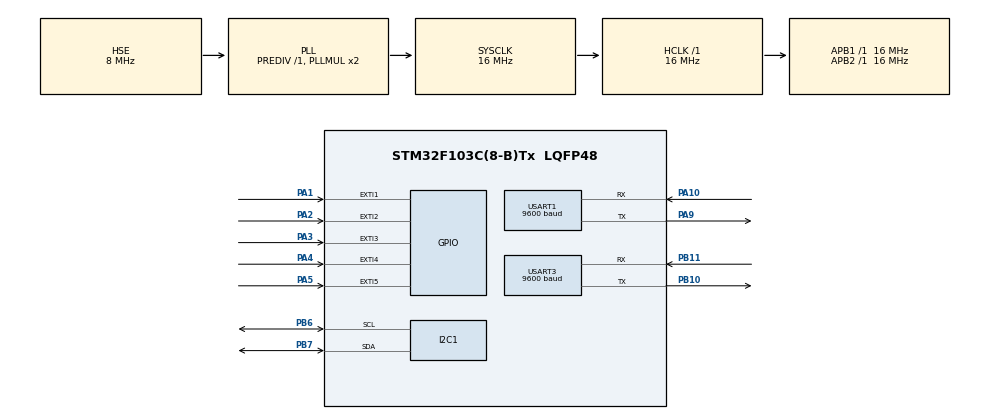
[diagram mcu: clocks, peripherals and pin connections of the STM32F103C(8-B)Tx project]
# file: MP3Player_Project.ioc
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FREERTOS.INCLUDE_eTaskGetState=1
FREERTOS.INCLUDE_xEventGroupSetBitFromISR=1
FREERTOS.INCLUDE_xTimerPendFunctionCall=1
FREERTOS.Tasks01=defaultTask,0,128,StartDefaultTask,Default,NULL,Dynamic,NULL,NULL
FREERTOS.configGENERATE_RUN_TIME_STATS=0
FREERTOS.configUSE_COUNTING_SEMAPHORES=1
FREERTOS.configUSE_NEWLIB_REENTRANT=1
FREERTOS.configUSE_STATS_FORMATTING_FUNCTIONS=0
FREERTOS.configUSE_TIMERS=1
FREERTOS.configUSE_TRACE_FACILITY=0
I2C1.I2C_Mode=I2C_Fast
Mcu.Family=STM32F1
Mcu.Name=STM32F103C(8-B)Tx
Mcu.Package=LQFP48
NVIC.EXTI1_IRQn=true\:5\:0\:false\:true\:true\:1\:true\:true\:true\:true
NVIC.EXTI2_IRQn=true\:5\:0\:false\:true\:true\:2\:true\:true\:true\:true
NVIC.EXTI3_IRQn=true\:5\:0\:false\:true\:true\:3\:true\:true\:true\:true
NVIC.EXTI4_IRQn=true\:5\:0\:false\:true\:true\:4\:true\:true\:true\:true
NVIC.EXTI9_5_IRQn=true\:5\:0\:false\:true\:true\:5\:true\:true\:true\:true
NVIC.PriorityGroup=NVIC_PRIORITYGROUP_4
NVIC.TIM4_IRQn=true\:15\:0\:false\:false\:true\:false\:false\:true\:true
NVIC.TimeBase=TIM4_IRQn
NVIC.TimeBaseIP=TIM4
PA1.Signal=GPXTI1
PA10.Mode=Asynchronous
PA10.Signal=USART1_RX
PA13.Mode=Serial_Wire
PA13.Signal=SYS_JTMS-SWDIO
PA14.Mode=Serial_Wire
PA14.Signal=SYS_JTCK-SWCLK
PA2.Signal=GPXTI2
PA3.Signal=GPXTI3
PA4.Signal=GPXTI4
PA5.Signal=GPXTI5
PA9.Mode=Asynchronous
PA9.Signal=USART1_TX
PB10.Mode=Asynchronous
PB10.Signal=USART3_TX
PB11.Mode=Asynchronous
PB11.Signal=USART3_RX
PB6.Mode=I2C
PB6.Signal=I2C1_SCL
PB7.Mode=I2C
PB7.Signal=I2C1_SDA
PD0-OSC_IN.Mode=HSE-External-Oscillator
PD0-OSC_IN.Signal=RCC_OSC_IN
PD1-OSC_OUT.Mode=HSE-External-Oscillator
PD1-OSC_OUT.Signal=RCC_OSC_OUT
ProjectManager.HeapSize=0x200
ProjectManager.StackSize=0x400
ProjectManager.TargetToolchain=STM32CubeIDE
RCC.AHBFreq_Value=16000000
RCC.APB1Freq_Value=16000000
RCC.APB1TimFreq_Value=16000000
RCC.APB2Freq_Value=16000000
RCC.APB2TimFreq_Value=16000000
RCC.HCLKFreq_Value=16000000
RCC.PLLSourceVirtual=RCC_PLLSOURCE_HSE
RCC.SYSCLKFreq_VALUE=16000000
RCC.SYSCLKSource=RCC_SYSCLKSOURCE_PLLCLK
RCC.USBFreq_Value=16000000
USART1.BaudRate=9600
USART1.VirtualMode=VM_ASYNC
USART3.BaudRate=9600
USART3.VirtualMode=VM_ASYNC
VP_FREERTOS_VS_CMSIS_V1.Mode=CMSIS_V1
VP_SYS_VS_tim4.Mode=TIM4
board=custom

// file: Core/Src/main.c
/* USER CODE BEGIN Header */
/**
  ******************************************************************************
  * @file           : main.c
  * @brief          : Main program body
  ******************************************************************************
  * @attention
  *
  * Copyright (c) 2023 STMicroelectronics.
  * All rights reserved.
  *
  * This software is licensed under terms that can be found in the LICENSE file
  * in the root directory of this software component.
  * If no LICENSE file comes with this software, it is provided AS-IS.
  *
  ******************************************************************************
  */
/* USER CODE END Header */
#include "main.h"
#include "cmsis_os.h"
#include "i2c.h"
#include "usart.h"
#include "gpio.h"

/* USER CODE BEGIN Includes */
#include "dfplayer.h"
#include "fonts.h"
#include "ssd1306.h"
#include "fonts.h"
#include <stdio.h>

#include "portmacro.h"
#include "projdefs.h"

/* USER CODE END Includes */

/* USER CODE BEGIN PD */
#define Start_Byte 0x7E             //
#define Version_Byte 0xFF           // 버전
#define Command_Length 0x06        // 길이
#define End_Byte 0xEF              // 종료
#define Acknowledge 0x00           //

#define CENTER_BIT (1<<0) // 0x01
#define UP_BIT (1<<1) // 0x02
#define DOWN_BIT (1<<2) // 0x04
#define RIGHT_BIT (1<<3) // 0x08
#define LEFT_BIT (1<<4) // 0x10

/* USER CODE END PD */

/* USER CODE BEGIN PV */

extern TaskHandle_t vActivateTaskHandle;
extern EventGroupHandle_t xEventGroup;
extern StaticTask_t xTaskBuffer;
extern StackType_t xTaskStack[configMINIMAL_STACK_SIZE];

extern uint8_t data[10];
extern uint8_t pauseStatus;
extern uint8_t activeStatus;
extern uint8_t currentVolume; // default volume
extern uint8_t changeVolume;
extern uint8_t currentTrackNo;
extern uint8_t changeTrackNo;

extern void vActivateTask(void* pvParameters);

/* USER CODE END PV */

void SystemClock_Config(void);
void MX_FREERTOS_Init(void);
static void MX_NVIC_Init(void);

int main(void)
{

  /* MCU Configuration--------------------------------------------------------*/

  /* Reset of all peripherals, Initializes the Flash interface and the Systick. */
  HAL_Init();

  /* Configure the system clock */
  SystemClock_Config();

  /* Initialize all configured peripherals */
  MX_GPIO_Init();
  MX_USART1_UART_Init();
  MX_I2C1_Init();
  MX_USART3_UART_Init();

  /* Initialize interrupts */
  MX_NVIC_Init();
  /* USER CODE BEGIN 2 */
  SSD1306_Init();

  SSD1306_GotoXY(0, 10);
  SSD1306_Puts("HELLO", &Font_11x18, 1);
  SSD1306_GotoXY(10, 30);
  SSD1306_Puts(" WORLD! :)", &Font_11x18, 1);
  SSD1306_UpdateScreen();  // display
  HAL_Delay(2500);		   // 로고
  specifyVolume(4);
  HAL_Delay(500);
  specifyTrack(1);
  HAL_Delay(500);
  /* USER CODE END 2 */

  /* Call init function for freertos objects (in freertos.c) */
  MX_FREERTOS_Init();

  /* Start scheduler */
  vTaskStartScheduler();

  /* We should never get here as control is now taken by the scheduler */
  /* Infinite loop */
  while (1)
  {

  }
}

void SystemClock_Config(void)
{
  RCC_OscInitTypeDef RCC_OscInitStruct = {0};
  RCC_ClkInitTypeDef RCC_ClkInitStruct = {0};

  /** Initializes the RCC Oscillators according to the specified parameters
  * in the RCC_OscInitTypeDef structure.
  */
  RCC_OscInitStruct.OscillatorType = RCC_OSCILLATORTYPE_HSE;
  RCC_OscInitStruct.HSEState = RCC_HSE_ON;
  RCC_OscInitStruct.HSEPredivValue = RCC_HSE_PREDIV_DIV1;
  RCC_OscInitStruct.HSIState = RCC_HSI_ON;
  RCC_OscInitStruct.PLL.PLLState = RCC_PLL_ON;
  RCC_OscInitStruct.PLL.PLLSource = RCC_PLLSOURCE_HSE;
  RCC_OscInitStruct.PLL.PLLMUL = RCC_PLL_MUL2;
  if (HAL_RCC_OscConfig(&RCC_OscInitStruct) != HAL_OK)
  {
    Error_Handler();
  }

  /** Initializes the CPU, AHB and APB buses clocks
  */
  RCC_ClkInitStruct.ClockType = RCC_CLOCKTYPE_HCLK|RCC_CLOCKTYPE_SYSCLK
                              |RCC_CLOCKTYPE_PCLK1|RCC_CLOCKTYPE_PCLK2;
  RCC_ClkInitStruct.SYSCLKSource = RCC_SYSCLKSOURCE_PLLCLK;
  RCC_ClkInitStruct.AHBCLKDivider = RCC_SYSCLK_DIV1;
  RCC_ClkInitStruct.APB1CLKDivider = RCC_HCLK_DIV1;
  RCC_ClkInitStruct.APB2CLKDivider = RCC_HCLK_DIV1;

  if (HAL_RCC_ClockConfig(&RCC_ClkInitStruct, FLASH_LATENCY_0) != HAL_OK)
  {
    Error_Handler();
  }
}

/**
  * @brief NVIC Configuration.
  * @retval None
  */
static void MX_NVIC_Init(void)
{
  /* EXTI1_IRQn interrupt configuration */
  HAL_NVIC_SetPriority(EXTI1_IRQn, 5, 0);
  HAL_NVIC_EnableIRQ(EXTI1_IRQn);
  /* EXTI2_IRQn interrupt configuration */
  HAL_NVIC_SetPriority(EXTI2_IRQn, 5, 0);
  HAL_NVIC_EnableIRQ(EXTI2_IRQn);
  /* EXTI3_IRQn interrupt configuration */
  HAL_NVIC_SetPriority(EXTI3_IRQn, 5, 0);
  HAL_NVIC_EnableIRQ(EXTI3_IRQn);
  /* EXTI4_IRQn interrupt configuration */
  HAL_NVIC_SetPriority(EXTI4_IRQn, 5, 0);
  HAL_NVIC_EnableIRQ(EXTI4_IRQn);
  /* EXTI9_5_IRQn interrupt configuration */
  HAL_NVIC_SetPriority(EXTI9_5_IRQn, 5, 0);
  HAL_NVIC_EnableIRQ(EXTI9_5_IRQn);
}

/* USER CODE BEGIN 4 */

void HAL_GPIO_EXTI_Callback(uint16_t GPIO_Pin)
{
	static uint32_t beforeTick = 0;

    BaseType_t xHigherPriorityTaskWoken = pdFALSE;

    // center button : pause/restart music
	if(GPIO_Pin == GPIO_PIN_1)
	{
		if(HAL_GetTick() - beforeTick >= 200)
		{
			beforeTick = HAL_GetTick();

			printf("you pressed center button!\r\n");

			if (xEventGroup != NULL) {
				xEventGroupSetBitsFromISR(xEventGroup, CENTER_BIT, &xHigherPriorityTaskWoken);
			}

			portYIELD_FROM_ISR(xHigherPriorityTaskWoken);

		}
	}

    // up button : volume up
	if(GPIO_Pin == GPIO_PIN_2)
	{

		if(HAL_GetTick() - beforeTick >= 200)
		{
			beforeTick = HAL_GetTick();

			printf("you pressed up button!\r\n");

			if (xEventGroup != NULL) {
				xEventGroupSetBitsFromISR(xEventGroup, UP_BIT, &xHigherPriorityTaskWoken);
			}

			portYIELD_FROM_ISR(xHigherPriorityTaskWoken);
		}

	}

    // down button : volume down
	if(GPIO_Pin == GPIO_PIN_3)
	{
		if(HAL_GetTick() - beforeTick >= 200)
		{
			beforeTick = HAL_GetTick();

			printf("you pressed down button!\r\n");

			if (xEventGroup != NULL) {
				xEventGroupSetBitsFromISR(xEventGroup, DOWN_BIT, &xHigherPriorityTaskWoken);
			}

			portYIELD_FROM_ISR(xHigherPriorityTaskWoken);
		}
	}

	// right button : next song
	if(GPIO_Pin == GPIO_PIN_4)
	{
		if(HAL_GetTick() - beforeTick >= 200)
		{
			beforeTick = HAL_GetTick();

			printf("you pressed right button!\r\n");

			if (xEventGroup != NULL) {
				xEventGroupSetBitsFromISR(xEventGroup, RIGHT_BIT, &xHigherPriorityTaskWoken);
			}

			portYIELD_FROM_ISR(xHigherPriorityTaskWoken);
		}
	}

	// left button : previous song
	if(GPIO_Pin == GPIO_PIN_5)
	{
		if(HAL_GetTick() - beforeTick >= 200)
		{
			beforeTick = HAL_GetTick();

			printf("you pressed left button!\r\n");

			if (xEventGroup != NULL) {
				xEventGroupSetBitsFromISR(xEventGroup, LEFT_BIT, &xHigherPriorityTaskWoken);
			}

			portYIELD_FROM_ISR(xHigherPriorityTaskWoken);
		}
	}
}

/* USER CODE END 4 */

void HAL_TIM_PeriodElapsedCallback(TIM_HandleTypeDef *htim)
{
  if (htim->Instance == TIM4) {
    HAL_IncTick();
  }
}

void Error_Handler(void)
{
  __disable_irq();
  while (1)
  {
  }
}

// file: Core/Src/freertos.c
/* USER CODE BEGIN Header */
/**
  ******************************************************************************
  * File Name          : freertos.c
  * Description        : Code for freertos applications
  ******************************************************************************
  * @attention
  *
  * Copyright (c) 2023 STMicroelectronics.
  * All rights reserved.
  *
  * This software is licensed under terms that can be found in the LICENSE file
  * in the root directory of this software component.
  * If no LICENSE file comes with this software, it is provided AS-IS.
  *
  ******************************************************************************
  */
/* USER CODE END Header */

#include "FreeRTOS.h"
#include "task.h"
#include "main.h"
#include "cmsis_os.h"

/* USER CODE BEGIN Includes */
#include <stdio.h>
#include "usart.h"

#include "dfplayer.h"
#include "fonts.h"
#include "ssd1306.h"
#include "fonts.h"
#include "bitmap.h"
#include <stdio.h>

/* USER CODE END Includes */

/* USER CODE BEGIN PD */

#define CENTER_BIT (1<<0) // 0x01
#define UP_BIT (1<<1) // 0x02
#define DOWN_BIT (1<<2) // 0x04
#define RIGHT_BIT (1<<3) // 0x08
#define LEFT_BIT (1<<4) // 0x10

#define QUEUE_LENGTH    10
#define QUEUE_ITEM_SIZE sizeof(uint32_t)

/* USER CODE END PD */

/* USER CODE BEGIN Variables */
TaskHandle_t vActivateTaskHandle = NULL;
EventGroupHandle_t xEventGroup;
SemaphoreHandle_t xSemaphore;
StaticTask_t xTaskBuffer;
StackType_t xTaskStack[configMINIMAL_STACK_SIZE];

uint8_t data[10];
uint8_t pauseStatus;	// 0 : Pause, 1 : Playing -- Music Player
uint8_t activeStatus;	// 0 : Unactivated, 1 : Activated -- LED Pannel
uint8_t currentVolume;  //
uint8_t changeVolume;
uint8_t currentTrackNo;
uint8_t changeTrackNo;
/* USER CODE END Variables */
osThreadId defaultTaskHandle;

/* USER CODE BEGIN FunctionPrototypes */

void vActivateTask(void *pvParameters);
void vTaskManager(void* pvParameters);

/* USER CODE END FunctionPrototypes */

void StartDefaultTask(void const * argument);

void MX_FREERTOS_Init(void); /* (MISRA C 2004 rule 8.1) */

/* GetIdleTaskMemory prototype (linked to static allocation support) */
void vApplicationGetIdleTaskMemory( StaticTask_t **ppxIdleTaskTCBBuffer, StackType_t **ppxIdleTaskStackBuffer, uint32_t *pulIdleTaskStackSize );

/* GetTimerTaskMemory prototype (linked to static allocation support) */
void vApplicationGetTimerTaskMemory( StaticTask_t **ppxTimerTaskTCBBuffer, StackType_t **ppxTimerTaskStackBuffer, uint32_t *pulTimerTaskStackSize );

/* USER CODE BEGIN GET_IDLE_TASK_MEMORY */
static StaticTask_t xIdleTaskTCBBuffer;
static StackType_t xIdleStack[configMINIMAL_STACK_SIZE];

void vApplicationGetIdleTaskMemory( StaticTask_t **ppxIdleTaskTCBBuffer, StackType_t **ppxIdleTaskStackBuffer, uint32_t *pulIdleTaskStackSize )
{
  *ppxIdleTaskTCBBuffer = &xIdleTaskTCBBuffer;
  *ppxIdleTaskStackBuffer = &xIdleStack[0];
  *pulIdleTaskStackSize = configMINIMAL_STACK_SIZE;
  /* place for user code */
}
/* USER CODE END GET_IDLE_TASK_MEMORY */

/* USER CODE BEGIN GET_TIMER_TASK_MEMORY */
static StaticTask_t xTimerTaskTCBBuffer;
static StackType_t xTimerStack[configTIMER_TASK_STACK_DEPTH];

void vApplicationGetTimerTaskMemory( StaticTask_t **ppxTimerTaskTCBBuffer, StackType_t **ppxTimerTaskStackBuffer, uint32_t *pulTimerTaskStackSize )
{
  *ppxTimerTaskTCBBuffer = &xTimerTaskTCBBuffer;
  *ppxTimerTaskStackBuffer = &xTimerStack[0];
  *pulTimerTaskStackSize = configTIMER_TASK_STACK_DEPTH;
  /* place for user code */
}
/* USER CODE END GET_TIMER_TASK_MEMORY */

void MX_FREERTOS_Init(void) {

  /* USER CODE BEGIN RTOS_SEMAPHORES */
  /* add semaphores, ... */
	xEventGroup = xEventGroupCreate();
	xSemaphore = xSemaphoreCreateBinary();

  /* USER CODE END RTOS_SEMAPHORES */

  /* Create the thread(s) */
  /* definition and creation of defaultTask */
  osThreadDef(defaultTask, StartDefaultTask, osPriorityNormal, 0, 128);
  defaultTaskHandle = osThreadCreate(osThread(defaultTask), NULL);

  /* USER CODE BEGIN RTOS_THREADS */
  xTaskCreate(vTaskManager, "Manager", configMINIMAL_STACK_SIZE, NULL, tskIDLE_PRIORITY, NULL);
  xTaskCreate(vActivateTask, "ActivateTask", configMINIMAL_STACK_SIZE, NULL, tskIDLE_PRIORITY + 1, &vActivateTaskHandle);

//  if (xEventGroup != NULL) {
//	  xTaskCreate(vTaskManager, "Manager", configMINIMAL_STACK_SIZE, NULL, tskIDLE_PRIORITY + 1, NULL);
//
//  }

  /* add threads, ... */
  /* USER CODE END RTOS_THREADS */

}

void StartDefaultTask(void const * argument)
{
  /* USER CODE BEGIN StartDefaultTask */
  /* Infinite loop */
  for(;;)
  {
    osDelay(100);
  }
  /* USER CODE END StartDefaultTask */
}

/* USER CODE BEGIN Application */
void vActivateTask(void* pvParameters)
{
    uint32_t ulNotificationValue;

    for (;;) {
        // Wait for a notification from vTaskManager
        ulNotificationValue = ulTaskNotifyTake(pdTRUE, portMAX_DELAY);

        if (ulNotificationValue > 0) {
            // vActivateTask starts executing...
            // ...
			if (!activeStatus)
			{
				// set activeStatus On
				activeStatus = 1;
				// get every data(volume, song no....etc)
				currentVolume = getCurrentVolume();
				changeVolume = currentVolume;
				currentTrackNo = getCurrentTrackNo();
				changeTrackNo = currentTrackNo;
				// display info
				SSD1306_Display_Volume_Track_Info(currentVolume, changeVolume, currentTrackNo, changeTrackNo);
			}
			else
			{
				// center button : pause/restart music
				if (CENTER_BIT == (uint32_t) ulNotificationValue)
				{
					if (currentVolume != changeVolume || currentTrackNo != changeTrackNo)
					{
						specifyVolume(changeVolume);
						currentVolume = changeVolume;
						HAL_Delay(500);
						specifyTrack(changeTrackNo);
						currentTrackNo = changeTrackNo;
					}
					else
					{
						pauseStatus = !pauseStatus;
						if (pauseStatus)
						{
							pauseMusic();
						}
						else
						{
							restartMusic();
						}
					}

					SSD1306_Display_Volume_Track_Info(currentVolume, changeVolume, currentTrackNo, changeTrackNo);
				}

				// up button : volume up
				if (UP_BIT == (uint32_t) ulNotificationValue)
				{
					if (++changeVolume > 15) changeVolume = 1;
					SSD1306_Display_Volume_Track_Info(currentVolume, changeVolume, currentTrackNo, changeTrackNo);
				}

				// down button : volume down
				if (DOWN_BIT == (uint32_t) ulNotificationValue)
				{
					if (--changeVolume < 1) changeVolume = 15;
					SSD1306_Display_Volume_Track_Info(currentVolume, changeVolume, currentTrackNo, changeTrackNo);
				}

				// right button : next song
				if (RIGHT_BIT == (uint32_t) ulNotificationValue)
				{
					if (++changeTrackNo > 7) changeTrackNo = 1;
					SSD1306_Display_Volume_Track_Info(currentVolume, changeVolume, currentTrackNo, changeTrackNo);
				}

				// left button : previous song
				if (LEFT_BIT == (uint32_t) ulNotificationValue)
				{
					if (--changeTrackNo < 1) changeTrackNo = 7;
					SSD1306_Display_Volume_Track_Info(currentVolume, changeVolume, currentTrackNo, changeTrackNo);
				}
			}

            // Check for a new notification after delay
            if ((ulNotificationValue = ulTaskNotifyTake(pdTRUE, pdMS_TO_TICKS(5000))) == 0) {
                // vActivateTask continues executing after the delay, only if no new notification was received
                // ...
            	// initialize changeVolume, changeTrackNo, activeStatus
            	changeVolume = currentVolume;
				changeTrackNo = currentTrackNo;
				activeStatus = 0;
				SSD1306_Clear();

                continue;

            } else {
                // A new notification was received during the delay, so we skip the rest of the execution
                xTaskNotify(vActivateTaskHandle, ulNotificationValue, eSetValueWithOverwrite);

                continue;
            }
        }
    }
}

void vTaskManager(void* pvParameters)
{

    while (1) {

    	// Waiting Eventbit from IRQHandler
	    EventBits_t activeBit = xEventGroupWaitBits(xEventGroup, 0x1F, pdTRUE, pdFALSE, portMAX_DELAY);

        // Signal vActivateTaskHandle
        xTaskNotify(vActivateTaskHandle, activeBit, eSetValueWithOverwrite);

        // vTaskManager does other work...
        vTaskDelay(pdMS_TO_TICKS(1000));

    }
}

void SSD1306_Display_Volume_Track_Info(uint8_t currVol, uint8_t chngVol, uint8_t currTrack, uint8_t chngTrack)
{
	char currentVolumeChar[3];
	char changeVolumeChar[3];
	char currentTrackNoChar[3];
	char changeTrackNoChar[3];
	itoa(currVol, (char*)currentVolumeChar, 10);
	itoa(chngVol, (char*)changeVolumeChar, 10);
	itoa(currTrack, (char*)currentTrackNoChar, 10);
	itoa(chngTrack, (char*)changeTrackNoChar, 10);

	SSD1306_Clear();
	SSD1306_DrawBitmap(4, 0, Volume_Bitmap, 42, 30, 1);
	SSD1306_DrawBitmap(2, 34, Music_Bitmap, 42, 30, 1);

	SSD1306_GotoXY(42, 5);
	SSD1306_Puts("CURR VOL :", &Font_7x10, 1);
	SSD1306_GotoXY(111, 5);
	SSD1306_Puts(currentVolumeChar, &Font_7x10, 1);

	SSD1306_GotoXY(42, 15);
	SSD1306_Puts("CHNG VOL :", &Font_7x10, 1);
	SSD1306_GotoXY(111, 15);
	SSD1306_Puts(changeVolumeChar, &Font_7x10, 1);

	SSD1306_GotoXY(42, 39);
	SSD1306_Puts("CURR SONG:", &Font_7x10, 1);
	SSD1306_GotoXY(111, 39);
	SSD1306_Puts(currentTrackNoChar, &Font_7x10, 1);

	SSD1306_GotoXY(42, 49);
	SSD1306_Puts("CHNG SONG:", &Font_7x10, 1);
	SSD1306_GotoXY(111, 49);
	SSD1306_Puts(changeTrackNoChar, &Font_7x10, 1);

	SSD1306_UpdateScreen(); // display
}
/* USER CODE END Application */
